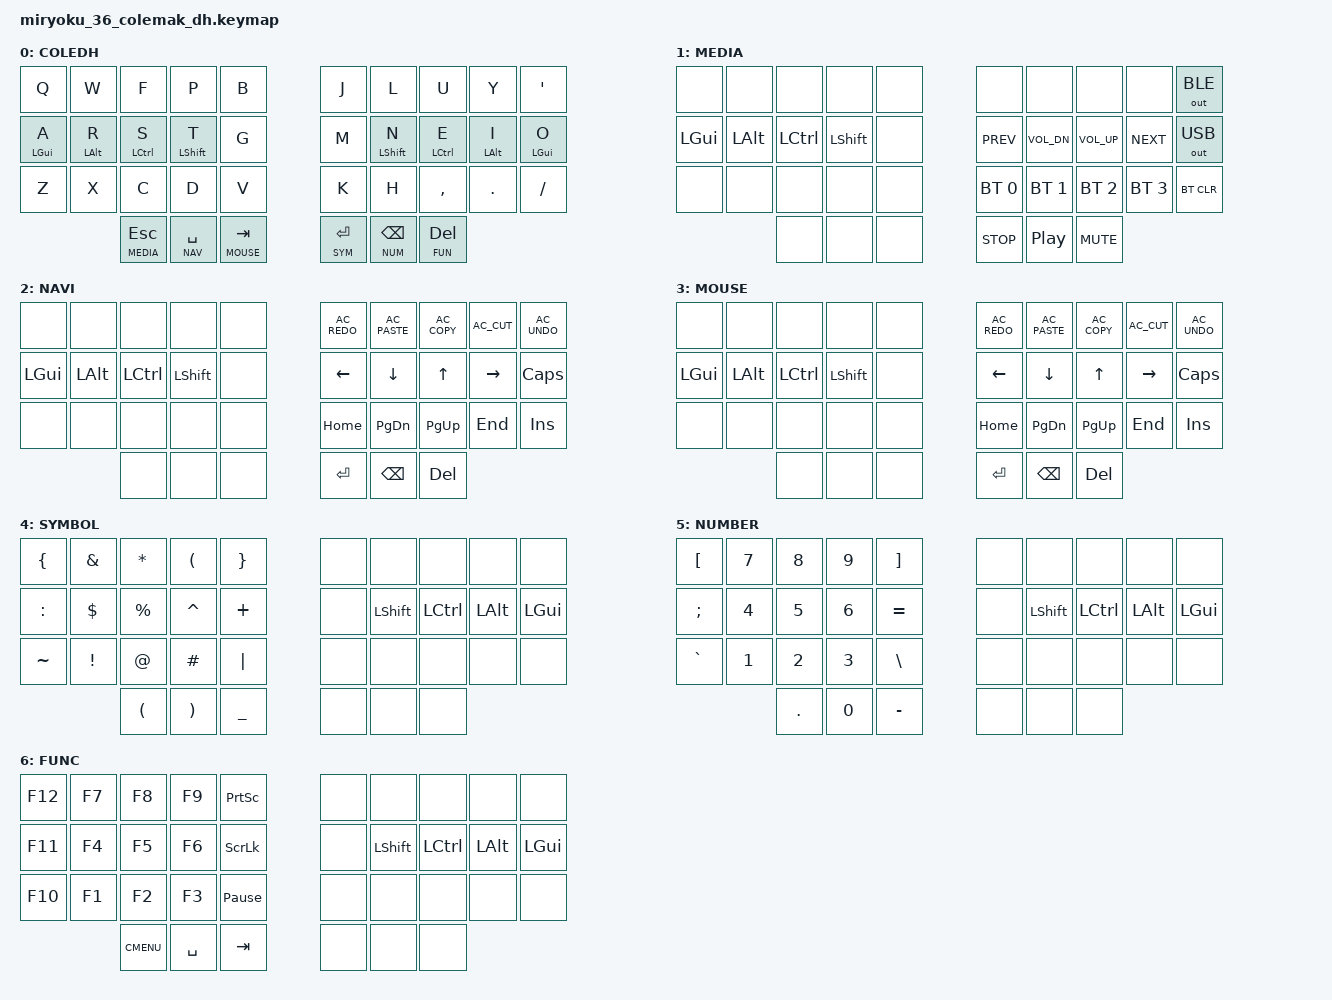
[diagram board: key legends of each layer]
#include "layers.h"

/ {
  keymap {
    compatible = "zmk,keymap";

    default_layer {
      label = "COLEDH";
			bindings = <
// ╭───────────────┬───────────────┬───────────────┬───────────────┬───────────────╮   ╭───────────────┬───────────────┬───────────────┬───────────────┬───────────────╮
	   &kp Q           &kp W           &kp F           &kp P           &kp B               &kp J           &kp L           &kp U           &kp Y           &kp SQT   
// ├───────────────┼───────────────┼───────────────┼───────────────┼───────────────┤   ├───────────────┼───────────────┼───────────────┼───────────────┼───────────────┤
     &hm LGUI A      &hm LALT R      &hm LCTRL S     &hm LSHFT T     &kp G               &kp M           &hm LSHFT N     &hm LCTRL E     &hm LALT I      &hm LGUI O
// ├───────────────┼───────────────┼───────────────┼───────────────┼───────────────┤   ├───────────────┼───────────────┼───────────────┼───────────────┼───────────────┤
	   &kp Z           &kp X           &kp C           &kp D           &kp V               &kp K           &kp H           &kp COMMA       &kp DOT         &kp FSLH
// ╰───────────────┴───────────────┴───────────────┼───────────────┼───────────────┤   ├───────────────┼───────────────┼───────────────┴───────────────┴───────────────╯
	                                   &lt MEDIA ESC   &lt NAV SPC     &lt MOUSE TAB       &lt SYM RET     &lt NUM BSPC    &lt FUN DEL
//                                 ╰───────────────┴───────────────┴───────────────╯   ╰───────────────┴───────────────┴───────────────╯
>;
    };

    media_layer {
      label = "MEDIA";
			bindings = <
// ╭───────────────┬───────────────┬───────────────┬───────────────┬───────────────╮   ╭───────────────┬───────────────┬───────────────┬───────────────┬───────────────╮
     &none           &none           &none           &none           &none               &none           &none           &none           &none           &out OUT_BLE
// ├───────────────┼───────────────┼───────────────┼───────────────┼───────────────┤   ├───────────────┼───────────────┼───────────────┼───────────────┼───────────────┤
	   &kp LGUI        &kp LALT        &kp LCTRL       &kp LSHIFT      &none               &kp C_PREV      &kp C_VOL_DN    &kp C_VOL_UP    &kp C_NEXT      &out OUT_USB
// ├───────────────┼───────────────┼───────────────┼───────────────┼───────────────┤   ├───────────────┼───────────────┼───────────────┼───────────────┼───────────────┤
	   &none           &none           &none           &none           &none               &bt BT_SEL 0    &bt BT_SEL 1    &bt BT_SEL 2    &bt BT_SEL 3    &bt BT_CLR
// ╰───────────────┴───────────────┴───────────────┼───────────────┼───────────────┤   ├───────────────┼───────────────┼───────────────┴───────────────┴───────────────╯
	                                   &none           &none           &none               &kp C_STOP      &kp C_PP        &kp C_MUTE
//                                 ╰───────────────┴───────────────┴───────────────╯   ╰───────────────┴───────────────┴───────────────╯
>;
    };

    nav_layer {
      label = "NAVI";
			bindings = <
// ╭───────────────┬───────────────┬───────────────┬───────────────┬───────────────╮   ╭───────────────┬───────────────┬───────────────┬───────────────┬───────────────╮
	   &none           &none           &none           &none           &none               &kp C_AC_REDO   &kp C_AC_PASTE  &kp C_AC_COPY   &kp C_AC_CUT    &kp C_AC_UNDO
// ├───────────────┼───────────────┼───────────────┼───────────────┼───────────────┤   ├───────────────┼───────────────┼───────────────┼───────────────┼───────────────┤
	   &kp LGUI        &kp LALT        &kp LCTRL       &kp LSHIFT      &none               &kp LEFT        &kp DOWN        &kp UP          &kp RIGHT       &kp CAPSLOCK
// ├───────────────┼───────────────┼───────────────┼───────────────┼───────────────┤   ├───────────────┼───────────────┼───────────────┼───────────────┼───────────────┤
	   &none           &none           &none           &none           &none               &kp HOME        &kp PG_DN       &kp PG_UP       &kp END         &kp INSERT
// ╰───────────────┴───────────────┴───────────────┼───────────────┼───────────────┤   ├───────────────┼───────────────┼───────────────┴───────────────┴───────────────╯
	                                   &none           &none           &none               &kp RET         &kp BSPC        &kp DEL
//                                 ╰───────────────┴───────────────┴───────────────╯   ╰───────────────┴───────────────┴───────────────╯
>;
    };

    /* This needs to be implemented when mouse keys hits ZMK's main branch */
		mouse_layer {
      label = "MOUSE";
			bindings = <
// ╭───────────────┬───────────────┬───────────────┬───────────────┬───────────────╮   ╭───────────────┬───────────────┬───────────────┬───────────────┬───────────────╮
	   &none           &none           &none           &none           &none               &kp C_AC_REDO   &kp C_AC_PASTE  &kp C_AC_COPY   &kp C_AC_CUT   &kp C_AC_UNDO
// ├───────────────┼───────────────┼───────────────┼───────────────┼───────────────┤   ├───────────────┼───────────────┼───────────────┼───────────────┼───────────────┤
	   &kp LGUI        &kp LALT        &kp LCTRL       &kp LSHIFT      &none               &kp LEFT        &kp DOWN        &kp UP          &kp RIGHT      &kp CAPSLOCK
// ├───────────────┼───────────────┼───────────────┼───────────────┼───────────────┤   ├───────────────┼───────────────┼───────────────┼───────────────┼───────────────┤
	   &none           &none           &none           &none           &none               &kp HOME        &kp PG_DN       &kp PG_UP       &kp END        &kp INSERT
// ╰───────────────┴───────────────┴───────────────┼───────────────┼───────────────┤   ├───────────────┼───────────────┼───────────────┴───────────────┴───────────────╯
	                                   &none           &none           &none               &kp RET         &kp BSPC        &kp DEL
//                                 ╰───────────────┴───────────────┴───────────────╯   ╰───────────────┴───────────────┴───────────────╯
>;
		};

		sym_layer {
      label = "SYMBOL";
			bindings = <
// ╭───────────────┬───────────────┬───────────────┬───────────────┬───────────────╮   ╭───────────────┬───────────────┬───────────────┬───────────────┬───────────────╮
	   &kp LBRC        &kp AMPS        &kp STAR        &kp LPAR        &kp RBRC            &none           &none           &none           &none           &none
// ├───────────────┼───────────────┼───────────────┼───────────────┼───────────────┤   ├───────────────┼───────────────┼───────────────┼───────────────┼───────────────┤
	   &kp COLON       &kp DLLR        &kp PRCNT       &kp CARET       &kp PLUS            &none           &kp LSHIFT      &kp LCTRL       &kp LALT        &kp LGUI
// ├───────────────┼───────────────┼───────────────┼───────────────┼───────────────┤   ├───────────────┼───────────────┼───────────────┼───────────────┼───────────────┤
	   &kp TILDE       &kp EXCL        &kp AT          &kp POUND       &kp PIPE            &none           &none           &none           &none           &none
// ╰───────────────┴───────────────┴───────────────┼───────────────┼───────────────┤   ├───────────────┼───────────────┼───────────────┴───────────────┴───────────────╯
      	                             &kp LPAR        &kp RPAR        &kp UNDER           &none           &none           &none
//                                 ╰───────────────┴───────────────┴───────────────╯   ╰───────────────┴───────────────┴───────────────╯
>;
		};

		num_layer {
      label = "NUMBER";
			bindings = <
// ╭───────────────┬───────────────┬───────────────┬───────────────┬───────────────╮   ╭───────────────┬───────────────┬───────────────┬───────────────┬───────────────╮
	   &kp LBKT        &kp N7          &kp N8          &kp N9          &kp RBKT            &none           &none           &none           &none           &none
// ├───────────────┼───────────────┼───────────────┼───────────────┼───────────────┤   ├───────────────┼───────────────┼───────────────┼───────────────┼───────────────┤
	   &kp SEMI        &kp N4          &kp N5          &kp N6          &kp EQUAL           &none           &kp LSHIFT      &kp LCTRL       &kp LALT        &kp LGUI
// ├───────────────┼───────────────┼───────────────┼───────────────┼───────────────┤   ├───────────────┼───────────────┼───────────────┼───────────────┼───────────────┤
	   &kp GRAVE       &kp N1          &kp N2          &kp N3          &kp BSLH            &none           &none           &none           &none           &none
// ╰───────────────┴───────────────┴───────────────┼───────────────┼───────────────┤   ├───────────────┼───────────────┼───────────────┴───────────────┴───────────────╯
	                                   &kp DOT         &kp N0          &kp MINUS           &none           &none           &none
//                                 ╰───────────────┴───────────────┴───────────────╯   ╰───────────────┴───────────────┴───────────────╯
>;
		};

		fun_layer {
      label = "FUNC";
			bindings = <
// ╭───────────────┬───────────────┬───────────────┬───────────────┬───────────────╮   ╭───────────────┬───────────────┬───────────────┬───────────────┬───────────────╮
	  &kp F12          &kp F7          &kp F8          &kp F9          &kp PSCRN           &none           &none           &none          &none           &none
// ├───────────────┼───────────────┼───────────────┼───────────────┼───────────────┤   ├───────────────┼───────────────┼───────────────┼───────────────┼───────────────┤
   	&kp F11          &kp F4          &kp F5          &kp F6          &kp SLCK            &none           &kp LSHIFT      &kp LCTRL       &kp LALT       &kp LGUI
// ├───────────────┼───────────────┼───────────────┼───────────────┼───────────────┤   ├───────────────┼───────────────┼───────────────┼───────────────┼───────────────┤
   	&kp F10          &kp F1          &kp F2          &kp F3          &kp PAUSE_BREAK     &none           &none           &none          &none           &none
// ╰───────────────┴───────────────┴───────────────┼───────────────┼───────────────┤   ├───────────────┼───────────────┼───────────────┴───────────────┴───────────────╯
	                                   &kp K_CMENU     &kp SPC         &kp TAB             &none           &none           &none
//                                 ╰───────────────┴───────────────┴───────────────╯   ╰───────────────┴───────────────┴───────────────╯
>;
		};
  };
};
